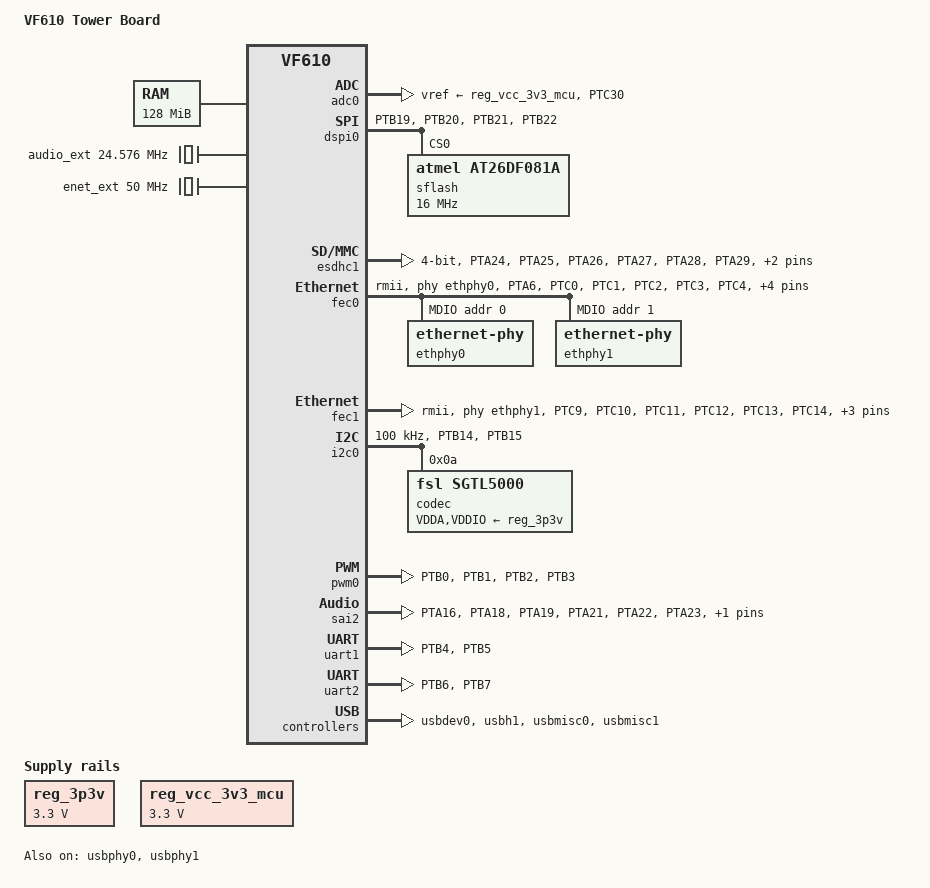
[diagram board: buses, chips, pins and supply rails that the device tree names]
/*
 * Copyright 2013 Freescale Semiconductor, Inc.
 *
 * This program is free software; you can redistribute it and/or modify
 * it under the terms of the GNU General Public License as published by
 * the Free Software Foundation; either version 2 of the License, or
 * (at your option) any later version.
 */

/dts-v1/;
#include "vf610.dtsi"

/ {
	model = "VF610 Tower Board";
	compatible = "fsl,vf610-twr", "fsl,vf610";

	chosen {
		bootargs = "console=ttyLP1,115200";
	};

	memory {
		reg = <0x80000000 0x8000000>;
	};

	audio_ext: mclk_osc {
		compatible = "fixed-clock";
		#clock-cells = <0>;
		clock-frequency = <24576000>;
	};

	enet_ext: eth_osc {
		compatible = "fixed-clock";
		#clock-cells = <0>;
		clock-frequency = <50000000>;
	};

	regulators {
		compatible = "simple-bus";
		#address-cells = <1>;
		#size-cells = <0>;

		reg_3p3v: regulator@0 {
			compatible = "regulator-fixed";
			reg = <0>;
			regulator-name = "3P3V";
			regulator-min-microvolt = <3300000>;
			regulator-max-microvolt = <3300000>;
			regulator-always-on;
		};

		reg_vcc_3v3_mcu: regulator@1 {
			compatible = "regulator-fixed";
			reg = <1>;
			regulator-name = "vcc_3v3_mcu";
			regulator-min-microvolt = <3300000>;
			regulator-max-microvolt = <3300000>;
		};
	};

	sound {
		compatible = "simple-audio-card";
		simple-audio-card,format = "i2s";
		simple-audio-card,widgets =
			"Microphone", "Microphone Jack",
			"Headphone", "Headphone Jack",
			"Speaker", "Speaker Ext",
			"Line", "Line In Jack";
		simple-audio-card,routing =
			"MIC_IN", "Microphone Jack",
			"Microphone Jack", "Mic Bias",
			"LINE_IN", "Line In Jack",
			"Headphone Jack", "HP_OUT",
			"Speaker Ext", "LINE_OUT";

		simple-audio-card,cpu {
			sound-dai = <&sai2>;
			frame-master;
			bitclock-master;
		};

		simple-audio-card,codec {
			sound-dai = <&codec>;
			frame-master;
			bitclock-master;
		};
	};
};

&adc0 {
	pinctrl-names = "default";
	pinctrl-0 = <&pinctrl_adc0_ad5>;
	vref-supply = <&reg_vcc_3v3_mcu>;
	status = "okay";
};

&clks {
	clocks = <&sxosc>, <&fxosc>, <&enet_ext>, <&audio_ext>;
	clock-names = "sxosc", "fxosc", "enet_ext", "audio_ext";
};

&dspi0 {
	bus-num = <0>;
	pinctrl-names = "default";
	pinctrl-0 = <&pinctrl_dspi0>;
	status = "okay";

	sflash: at26df081a@0 {
		#address-cells = <1>;
		#size-cells = <1>;
		compatible = "atmel,at26df081a";
		spi-max-frequency = <16000000>;
		spi-cpol;
		spi-cpha;
		reg = <0>;
	};
};

&edma0 {
	status = "okay";
};

&esdhc1 {
	pinctrl-names = "default";
	pinctrl-0 = <&pinctrl_esdhc1>;
	bus-width = <4>;
	cd-gpios = <&gpio4 6 GPIO_ACTIVE_LOW>;
	status = "okay";
};

&fec0 {
	phy-mode = "rmii";
	phy-handle = <&ethphy0>;
	pinctrl-names = "default";
	pinctrl-0 = <&pinctrl_fec0>;
	status = "okay";

	mdio {
		#address-cells = <1>;
		#size-cells = <0>;

		ethphy0: ethernet-phy@0 {
			reg = <0>;
		};

		ethphy1: ethernet-phy@1 {
			reg = <1>;
		};
	};
};

&fec1 {
	phy-mode = "rmii";
	phy-handle = <&ethphy1>;
	pinctrl-names = "default";
	pinctrl-0 = <&pinctrl_fec1>;
	status = "okay";
};

&i2c0 {
	clock-frequency = <100000>;
	pinctrl-names = "default";
	pinctrl-0 = <&pinctrl_i2c0>;
	status = "okay";

	codec: sgtl5000@0a {
	       #sound-dai-cells = <0>;
	       compatible = "fsl,sgtl5000";
	       reg = <0x0a>;
	       VDDA-supply = <&reg_3p3v>;
	       VDDIO-supply = <&reg_3p3v>;
	       clocks = <&clks VF610_CLK_SAI2>;
       };
};

&iomuxc {
	vf610-twr {
		pinctrl_adc0_ad5: adc0ad5grp {
			fsl,pins = <
				VF610_PAD_PTC30__ADC0_SE5		0xa1
			>;
		};

		pinctrl_dspi0: dspi0grp {
			fsl,pins = <
				VF610_PAD_PTB19__DSPI0_CS0		0x1182
				VF610_PAD_PTB20__DSPI0_SIN		0x1181
				VF610_PAD_PTB21__DSPI0_SOUT		0x1182
				VF610_PAD_PTB22__DSPI0_SCK		0x1182
			>;
		};

		pinctrl_esdhc1: esdhc1grp {
			fsl,pins = <
				VF610_PAD_PTA24__ESDHC1_CLK	0x31ef
				VF610_PAD_PTA25__ESDHC1_CMD	0x31ef
				VF610_PAD_PTA26__ESDHC1_DAT0	0x31ef
				VF610_PAD_PTA27__ESDHC1_DAT1	0x31ef
				VF610_PAD_PTA28__ESDHC1_DATA2	0x31ef
				VF610_PAD_PTA29__ESDHC1_DAT3	0x31ef
				VF610_PAD_PTA7__GPIO_134	0x219d
			>;
		};

		pinctrl_fec0: fec0grp {
			fsl,pins = <
				VF610_PAD_PTA6__RMII_CLKIN		0x30d1
				VF610_PAD_PTC0__ENET_RMII0_MDC		0x30d3
				VF610_PAD_PTC1__ENET_RMII0_MDIO		0x30d1
				VF610_PAD_PTC2__ENET_RMII0_CRS		0x30d1
				VF610_PAD_PTC3__ENET_RMII0_RXD1		0x30d1
				VF610_PAD_PTC4__ENET_RMII0_RXD0		0x30d1
				VF610_PAD_PTC5__ENET_RMII0_RXER		0x30d1
				VF610_PAD_PTC6__ENET_RMII0_TXD1		0x30d2
				VF610_PAD_PTC7__ENET_RMII0_TXD0		0x30d2
				VF610_PAD_PTC8__ENET_RMII0_TXEN		0x30d2
			>;
		};

		pinctrl_fec1: fec1grp {
			fsl,pins = <
				VF610_PAD_PTC9__ENET_RMII1_MDC		0x30d2
				VF610_PAD_PTC10__ENET_RMII1_MDIO	0x30d3
				VF610_PAD_PTC11__ENET_RMII1_CRS		0x30d1
				VF610_PAD_PTC12__ENET_RMII_RXD1		0x30d1
				VF610_PAD_PTC13__ENET_RMII1_RXD0	0x30d1
				VF610_PAD_PTC14__ENET_RMII1_RXER	0x30d1
				VF610_PAD_PTC15__ENET_RMII1_TXD1	0x30d2
				VF610_PAD_PTC16__ENET_RMII1_TXD0	0x30d2
				VF610_PAD_PTC17__ENET_RMII1_TXEN	0x30d2
			>;
		};

		pinctrl_i2c0: i2c0grp {
			fsl,pins = <
				VF610_PAD_PTB14__I2C0_SCL		0x30d3
				VF610_PAD_PTB15__I2C0_SDA		0x30d3
			>;
		};

		pinctrl_pwm0: pwm0grp {
			fsl,pins = <
				VF610_PAD_PTB0__FTM0_CH0		0x1582
				VF610_PAD_PTB1__FTM0_CH1		0x1582
				VF610_PAD_PTB2__FTM0_CH2		0x1582
				VF610_PAD_PTB3__FTM0_CH3		0x1582
			>;
		};

		pinctrl_sai2: sai2grp {
			fsl,pins = <
				VF610_PAD_PTA16__SAI2_TX_BCLK		0x02ed
				VF610_PAD_PTA18__SAI2_TX_DATA		0x02ee
				VF610_PAD_PTA19__SAI2_TX_SYNC		0x02ed
				VF610_PAD_PTA21__SAI2_RX_BCLK		0x02ed
				VF610_PAD_PTA22__SAI2_RX_DATA		0x02ed
				VF610_PAD_PTA23__SAI2_RX_SYNC		0x02ed
				VF610_PAD_PTB18__EXT_AUDIO_MCLK		0x02ed
			>;
		};

		pinctrl_uart1: uart1grp {
			fsl,pins = <
				VF610_PAD_PTB4__UART1_TX		0x21a2
				VF610_PAD_PTB5__UART1_RX		0x21a1
			>;
		};

		pinctrl_uart2: uart2grp {
			fsl,pins = <
				VF610_PAD_PTB6__UART2_TX		0x21a2
				VF610_PAD_PTB7__UART2_RX		0x21a1
			>;
		};
	};
};

&pwm0 {
	pinctrl-names = "default";
	pinctrl-0 = <&pinctrl_pwm0>;
	status = "okay";
};

&sai2 {
	#sound-dai-cells = <0>;
	pinctrl-names = "default";
	pinctrl-0 = <&pinctrl_sai2>;
	status = "okay";
};

&uart1 {
	pinctrl-names = "default";
	pinctrl-0 = <&pinctrl_uart1>;
	status = "okay";
};

&uart2 {
	pinctrl-names = "default";
	pinctrl-0 = <&pinctrl_uart2>;
	status = "okay";
};

&usbdev0 {
	disable-over-current;
	status = "okay";
};

&usbh1 {
	disable-over-current;
	status = "okay";
};

&usbmisc0 {
	status = "okay";
};

&usbmisc1 {
	status = "okay";
};

&usbphy0 {
	status = "okay";
};

&usbphy1 {
	status = "okay";
};
